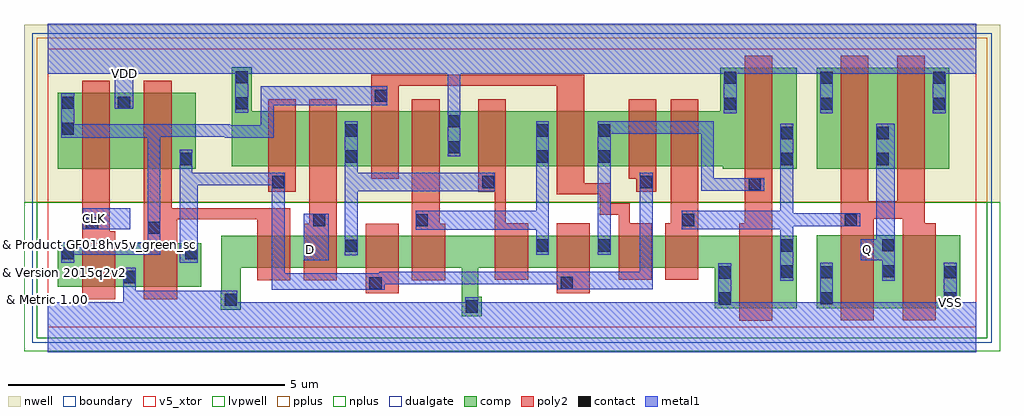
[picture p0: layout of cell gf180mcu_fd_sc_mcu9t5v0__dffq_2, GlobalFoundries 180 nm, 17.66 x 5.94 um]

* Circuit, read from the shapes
.subckt gf180mcu_fd_sc_mcu9t5v0__dffq_2 CLK D Q VDD VSS
XM1 VSS CLK n1 VSUBS nfet_05v0 w=0.79u l=0.6u
XM2 n2 n1 VSS VSUBS nfet_05v0 w=0.79u l=0.6u
XM3 n3 n1 VSS VSUBS nfet_05v0 w=0.58u l=0.6u
XM4 n4 D n3 VSUBS nfet_05v0 w=0.58u l=0.6u
XM5 n5 n2 n4 VSUBS nfet_05v0 w=0.58u l=0.6u
XM6 VSS n6 n5 VSUBS nfet_05v0 w=0.58u l=0.6u
XM7 n6 n4 VSS VSUBS nfet_05v0 w=0.58u l=0.6u
XM8 n7 n2 n6 VSUBS nfet_05v0 w=0.58u l=0.6u
XM9 n8 n1 n7 VSUBS nfet_05v0 w=0.58u l=0.6u
XM10 VSS n9 n8 VSUBS nfet_05v0 w=0.58u l=0.6u
XM11 n9 n7 VSS VSUBS nfet_05v0 w=1.32u l=0.6u
XM12 Q n9 VSS VSUBS nfet_05v0 w=1.32u l=0.6u m=2
XM13 VDD CLK n1 n10 pfet_05v0 w=1.38u l=0.5u
XM14 n2 n1 VDD n10 pfet_05v0 w=1.38u l=0.5u
XM15 n11 n2 VDD n10 pfet_05v0 w=1u l=0.5u
XM16 n4 D n11 n10 pfet_05v0 w=1u l=0.5u
XM17 n12 n1 n4 n10 pfet_05v0 w=1u l=0.5u
XM18 VDD n6 n12 n10 pfet_05v0 w=1u l=0.5u
XM19 n6 n4 VDD n10 pfet_05v0 w=1u l=0.5u
XM20 n7 n1 n6 n10 pfet_05v0 w=1u l=0.5u
XM21 n13 n2 n7 n10 pfet_05v0 w=1u l=0.5u
XM22 VDD n9 n13 n10 pfet_05v0 w=1u l=0.5u
XM23 n9 n7 VDD n10 pfet_05v0 w=1.83u l=0.5u
XM24 Q n9 VDD n10 pfet_05v0 w=1.83u l=0.5u m=2
.ends

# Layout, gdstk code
import gdstk
lib = gdstk.Library(unit=1e-6, precision=1e-09)
def R(c, l, rs):  # rectangles x0, y0, x1, y1
    for r in rs: c.add(gdstk.rectangle(r[:2], r[2:], *l))
def P(c, l, *ps):  # polygons
    for p in ps: c.add(gdstk.Polygon(p, *l))
boundary = (0, 0)
nwell = (21, 0)
comp = (22, 0)
poly2 = (30, 0)
pplus = (31, 0)
nplus = (32, 0)
contact = (33, 0)
metal1 = (34, 0)
dualgate = (55, 0)
v5_xtor = (112, 1)
lvpwell = (204, 0)

gf180mcu_fd_sc_mcu9t5v0_ = lib.new_cell('gf180mcu_fd_sc_mcu9t5v0__dffq_2')
R(gf180mcu_fd_sc_mcu9t5v0_, boundary, [(0,0,16.8,5.04)])
R(gf180mcu_fd_sc_mcu9t5v0_, nwell, [(-0.43,2.265,17.23,5.47)])
R(gf180mcu_fd_sc_mcu9t5v0_, comp, [(13.91,0.345,16.51,1.665), (0.18,0.73,2.78,1.52), (0.18,2.865,2.68,4.245), (13.91,2.865,16.31,4.695)])
P(gf180mcu_fd_sc_mcu9t5v0_, comp, [(7.49,0.195),(7.49,1.075),(3.49,1.075),(3.49,0.315),(3.13,0.315),(3.13,0.645),(3.14,0.645),(3.14,1.655),(7.69,1.655),(7.69,1.66),(13.55,1.66),(13.55,0.34),(12.07,0.34),(12.07,1.08),(7.79,1.08),(7.79,0.555),(7.85,0.555),(7.85,0.195)],
  [(12.21,2.865),(12.21,2.91),(3.33,2.91),(3.33,4.705),(3.69,4.705),(3.69,3.91),(12.17,3.91),(12.17,4.695),(13.55,4.695),(13.55,2.865)])
R(gf180mcu_fd_sc_mcu9t5v0_, poly2, [(5.75,0.615,6.35,1.875), (9.21,0.62,9.81,1.88), (3.99,2.45,4.49,4.13)])
P(gf180mcu_fd_sc_mcu9t5v0_, poly2, [(0.62,0.51),(0.62,4.465),(1.12,4.465),(1.12,1.74),(1.22,1.74),(1.22,0.51)],
  [(1.74,0.51),(1.74,4.465),(2.24,4.465),(2.24,2.155),(4.39,2.155),(4.39,0.855),(3.79,0.855),(3.79,1.955),(2.34,1.955),(2.34,0.51)],
  [(4.63,0.855),(4.63,1.875),(4.73,1.875),(4.73,4.13),(5.23,4.13),(5.23,0.855)],
  [(6.59,0.855),(6.59,4.13),(7.09,4.13),(7.09,1.875),(7.19,1.875),(7.19,0.855)],
  [(8.09,0.86),(8.09,2.45),(7.79,2.45),(7.79,4.13),(8.29,4.13),(8.29,1.88),(8.69,1.88),(8.69,0.86)],
  [(10.33,0.86),(10.33,2.04),(9.99,2.04),(9.99,2.41),(9.21,2.41),(9.21,4.37),(6.35,4.37),(6.35,2.69),(5.85,2.69),(5.85,4.57),(9.71,4.57),(9.71,2.61),(10.19,2.61),(10.19,2.24),(10.53,2.24),(10.53,1.88),(10.93,1.88),(10.93,0.86)],
  [(10.65,2.45),(10.65,2.69),(10.51,2.69),(10.51,4.13),(11.01,4.13),(11.01,2.45)],
  [(11.17,0.86),(11.17,1.88),(11.27,1.88),(11.27,4.13),(11.77,4.13),(11.77,0.86)],
  [(12.51,0.12),(12.51,1.88),(12.61,1.88),(12.61,4.915),(13.11,4.915),(13.11,0.12)],
  [(14.35,0.125),(14.35,4.915),(14.85,4.915),(14.85,2.28),(15.37,2.28),(15.37,4.915),(15.87,4.915),(15.87,1.885),(16.07,1.885),(16.07,0.125),(15.47,0.125),(15.47,1.965),(14.95,1.965),(14.95,0.125)])
R(gf180mcu_fd_sc_mcu9t5v0_, pplus, [(-0.2,2.265,17,5.24)])
R(gf180mcu_fd_sc_mcu9t5v0_, nplus, [(-0.2,-0.2,17,2.265)])
R(gf180mcu_fd_sc_mcu9t5v0_, contact, [(7.56,0.265,7.78,0.485), (3.2,0.385,3.42,0.605), (12.14,0.41,12.36,0.63), (13.98,0.415,14.2,0.635), (16.22,0.415,16.44,0.635), (5.82,0.685,6.04,0.905), (9.28,0.69,9.5,0.91), (1.37,0.8,1.59,1.02), (12.14,0.88,12.36,1.1), (13.98,0.885,14.2,1.105), (16.22,0.885,16.44,1.105), (13.26,0.9,13.48,1.12), (15.1,0.905,15.32,1.125), (0.25,1.23,0.47,1.45), (2.49,1.23,2.71,1.45), (5.38,1.365,5.6,1.585), (8.84,1.37,9.06,1.59), (9.96,1.37,10.18,1.59), (13.26,1.37,13.48,1.59), (15.1,1.375,15.32,1.595), (1.81,1.69,2.03,1.91), (0.69,1.775,0.91,1.995), (4.8,1.825,5.02,2.045), (6.66,1.825,6.88,2.045), (11.48,1.83,11.7,2.05), (14.42,1.835,14.64,2.055), (12.68,2.475,12.9,2.695), (4.06,2.52,4.28,2.74), (7.86,2.52,8.08,2.74), (10.72,2.52,10.94,2.74), (2.39,2.935,2.61,3.155), (13.26,2.935,13.48,3.155), (15,2.935,15.22,3.155), (5.38,2.98,5.6,3.2), (8.84,2.98,9.06,3.2), (9.96,2.98,10.18,3.2), (7.24,3.15,7.46,3.37), (13.26,3.405,13.48,3.625), (15,3.405,15.22,3.625), (5.38,3.45,5.6,3.67), (8.84,3.45,9.06,3.67), (9.96,3.45,10.18,3.67), (0.25,3.485,0.47,3.705), (7.24,3.62,7.46,3.84), (12.24,3.935,12.46,4.155), (13.98,3.935,14.2,4.155), (16.02,3.935,16.24,4.155), (3.4,3.945,3.62,4.165), (0.25,3.955,0.47,4.175), (1.27,3.955,1.49,4.175), (5.92,4.08,6.14,4.3), (12.24,4.405,12.46,4.625), (13.98,4.405,14.2,4.625), (16.02,4.405,16.24,4.625), (3.4,4.415,3.62,4.635)])
R(gf180mcu_fd_sc_mcu9t5v0_, metal1, [(4.63,1.21,5.08,2.05), (0.63,1.77,1.49,2.15)])
P(gf180mcu_fd_sc_mcu9t5v0_, metal1, [(0.245,1.17),(0.245,1.54),(1.805,1.54),(1.805,3.425),(0.245,3.425),(0.245,4.235),(0.475,4.235),(0.475,3.675),(3.3,3.675),(3.3,3.655),(3.855,3.655),(3.855,4.36),(6.145,4.36),(6.145,4.02),(4.085,4.02),(4.085,3.425),(3.205,3.425),(3.205,3.445),(2.035,3.445),(2.035,1.31),(0.475,1.31),(0.475,1.17)],
  [(5.375,1.305),(5.375,3.73),(5.605,3.73),(5.605,2.8),(8.085,2.8),(8.085,2.46),(5.605,2.46),(5.605,1.305)],
  [(8.835,1.31),(8.835,1.765),(6.655,1.765),(6.655,2.105),(8.835,2.105),(8.835,3.73),(9.065,3.73),(9.065,1.31)],
  [(4.055,0.68),(4.055,2.57),(2.715,2.57),(2.715,1.17),(2.385,1.17),(2.385,3.215),(2.615,3.215),(2.615,2.8),(4.285,2.8),(4.285,0.98),(5.995,0.98),(5.995,1.005),(10.715,1.005),(10.715,2.8),(10.945,2.8),(10.945,0.685),(9.22,0.685),(9.22,0.775),(6.1,0.775),(6.1,0.68)],
  [(9.955,1.31),(9.955,3.73),(12.055,3.73),(12.055,2.7),(12.96,2.7),(12.96,2.47),(11.825,2.47),(11.825,3.5),(10.185,3.5),(10.185,1.31)],
  [(13.255,0.84),(13.255,1.77),(11.475,1.77),(11.475,2.11),(13.255,2.11),(13.255,3.685),(13.485,3.685),(13.485,2.06),(14.7,2.06),(14.7,1.83),(13.485,1.83),(13.485,0.84)],
  [(15.095,0.845),(15.095,1.21),(14.71,1.21),(14.71,1.59),(14.995,1.59),(14.995,3.685),(15.325,3.685),(15.325,0.845)],
  [(0,-0.45),(0,0.45),(1.365,0.45),(1.365,1.08),(1.595,1.08),(1.595,0.665),(3.425,0.665),(3.425,0.45),(7.555,0.45),(7.555,0.545),(7.785,0.545),(7.785,0.45),(12.135,0.45),(12.135,1.16),(12.365,1.16),(12.365,0.45),(13.975,0.45),(13.975,1.165),(14.205,1.165),(14.205,0.45),(16.215,0.45),(16.215,1.165),(16.445,1.165),(16.445,0.45),(16.8,0.45),(16.8,-0.45)],
  [(7.235,3.09),(7.235,4.59),(3.625,4.59),(3.625,3.885),(3.395,3.885),(3.395,4.59),(1.55,4.59),(1.55,3.95),(1.21,3.95),(1.21,4.59),(0,4.59),(0,5.49),(16.8,5.49),(16.8,4.59),(16.245,4.59),(16.245,3.875),(16.015,3.875),(16.015,4.59),(14.205,4.59),(14.205,3.875),(13.975,3.875),(13.975,4.59),(12.465,4.59),(12.465,3.875),(12.235,3.875),(12.235,4.59),(7.465,4.59),(7.465,3.09)])
R(gf180mcu_fd_sc_mcu9t5v0_, dualgate, [(-0.28,-0.28,17.08,5.32)])
R(gf180mcu_fd_sc_mcu9t5v0_, v5_xtor, [(0,0,16.8,5.04)])
R(gf180mcu_fd_sc_mcu9t5v0_, lvpwell, [(-0.43,-0.43,17.23,2.265)])
gf180mcu_fd_sc_mcu9t5v0_.add(gdstk.Label('CLK', (0.84,1.96), layer=34, texttype=10))
gf180mcu_fd_sc_mcu9t5v0_.add(gdstk.Label('D', (4.76,1.4), layer=34, texttype=10))
gf180mcu_fd_sc_mcu9t5v0_.add(gdstk.Label('Q', (14.84,1.4), layer=34, texttype=10))
gf180mcu_fd_sc_mcu9t5v0_.add(gdstk.Label('VDD', (1.38,4.59), layer=34, texttype=10))
gf180mcu_fd_sc_mcu9t5v0_.add(gdstk.Label('VSS', (16.33,0.45), layer=34, texttype=10))
gf180mcu_fd_sc_mcu9t5v0_.add(gdstk.Label('& Vendor GLOBALFOUNDRIES', (0,2), layer=63, texttype=63))
gf180mcu_fd_sc_mcu9t5v0_.add(gdstk.Label('& Product GF018hv5v_green_sc9', (0,1.5), layer=63, texttype=63))
gf180mcu_fd_sc_mcu9t5v0_.add(gdstk.Label('& Version 2015q2v2', (0,1), layer=63, texttype=63))
gf180mcu_fd_sc_mcu9t5v0_.add(gdstk.Label('& Metric 1.00', (0,0.5), layer=63, texttype=63))

lib.write_gds('gf180mcu_fd_sc_mcu9t5v0__dffq_2.gds')
